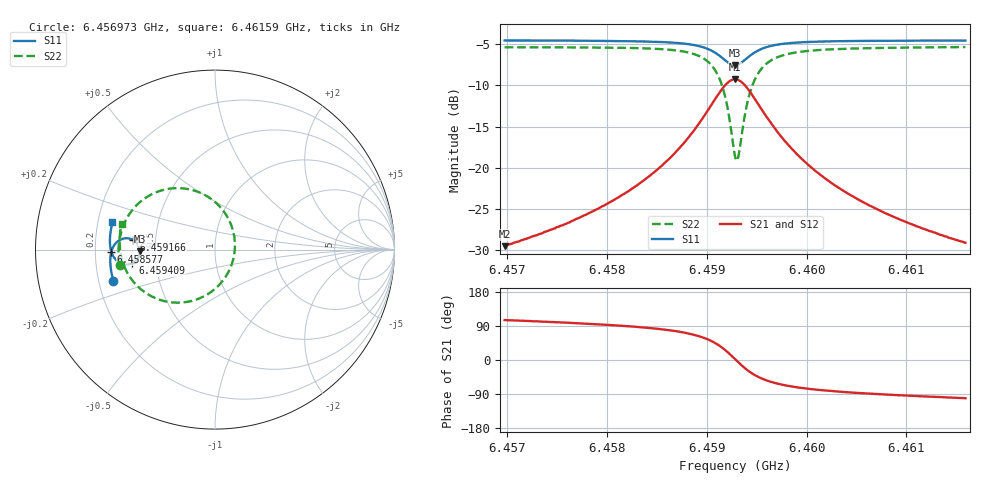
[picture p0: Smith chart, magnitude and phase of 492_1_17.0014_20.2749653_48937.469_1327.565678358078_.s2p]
#  HZ  S  RI  R  50.00
! Rohde & Schwarz Vector Network Analyzer
! Rohde-Schwarz,ZNB20-2Port,1311601062101988,3.16
! Created: UTC 3/20/2024, 11:14:07 PM
! freq[Hz]  re:S11  im:S11  re:S21  im:S21  re:S12  im:S12  re:S22  im:S22
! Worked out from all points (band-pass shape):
!   401 points, 6.456973 GHz to 6.46159 GHz, reference 50 ohm
!   highest |S21| = -9.26 dB at 6.459282 GHz (marker M1); lowest = -29.5 dB at 6.456973 GHz (marker M2)
!   |S21| within 3 dB of the highest: 6.459051 GHz to 6.459513 GHz (462 kHz wide, 0.00715 % of centre)
!   lowest |S11| = -7.6 dB at 6.459282 GHz (marker M3), VSWR 2.44, Z = 20.5 - j0.492 ohm
!   |S11| at or under -10 dB: nowhere
!   |S22| runs from -19.1 to -5.4 dB; largest |S21 - S12| = 0.014
!   S11 on the Smith chart (normalised r, x): 6.456973 GHz: 0.26, -0.14; 6.458577 GHz: 0.27, -0.01; 6.459166 GHz: 0.37, +0.05; 6.459409 GHz: 0.37, -0.07; 6.46159 GHz: 0.26, +0.12
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6.4569729e9  -0.5666 -0.1725  -0.00888 0.0322  -0.0072 0.0322  -0.5316 -0.0852
6.4577463e9  -0.5805 -0.1049  -0.00571 0.0502  -0.00307 0.0496  -0.5372 0.00494
6.4581618e9  -0.5836 -0.0634  -1.05e-05 0.069  0.0033 0.0675  -0.5297 0.0702
6.4585197e9  -0.5798 -0.021  0.014 0.0982  0.018 0.0956  -0.5039 0.1499
6.4585774e9  -0.578 -0.013  0.0185 0.1052  0.0225 0.1021  -0.4958 0.1666
6.4587852e9  -0.5651 0.019  0.0457 0.1375  0.0499 0.1326  -0.4445 0.2393
6.4589352e9  -0.5425 0.0454  0.0908 0.1679  0.0941 0.1612  -0.3615 0.3036
6.4590738e9  -0.499 0.0629  0.1776 0.1844  0.1786 0.177  -0.203 0.3425
6.4591661e9  -0.4546 0.0528  0.2672 0.1535  0.2674 0.1477  -0.0368 0.2927
6.4592123e9  -0.4335 0.0341  0.3107 0.1109  0.3121 0.1057  0.0459 0.2168
6.4592815e9  -0.4187 -0.00991  0.3441 0.0143  0.3477 0.00742  0.111 0.0374
6.4592931e9  -0.4191 -0.0178  0.3438 -0.00334  0.3478 -0.0108  0.1107 0.00387
6.4593162e9  -0.4226 -0.0334  0.3385 -0.038  0.3422 -0.0471  0.0998 -0.0616
6.4593623e9  -0.4381 -0.0594  0.31 -0.0978  0.3122 -0.1096  0.0423 -0.1747
6.4594085e9  -0.46 -0.0756  0.2681 -0.1387  0.2673 -0.1518  -0.0423 -0.2495
6.4595009e9  -0.5033 -0.0824  0.1835 -0.1697  0.1774 -0.1813  -0.2108 -0.2956
6.4596509e9  -0.5469 -0.0618  0.096 -0.156  0.0875 -0.1623  -0.378 -0.2464
6.4598125e9  -0.5685 -0.0343  0.0511 -0.1282  0.0436 -0.1309  -0.4582 -0.1746
6.4600549e9  -0.5811 0.00143  0.0221 -0.0969  0.0164 -0.0975  -0.506 -0.0923
6.4604012e9  -0.5855 0.0425  0.0062 -0.0702  0.00211 -0.0697  -0.5275 -0.0132
6.4608283e9  -0.5834 0.0853  -0.00161 -0.0516  -0.00431 -0.0508  -0.5316 0.0549
6.4615902e9  -0.5711 0.1527  -0.0066 -0.0344  -0.0082 -0.0336  -0.5201 0.1447
